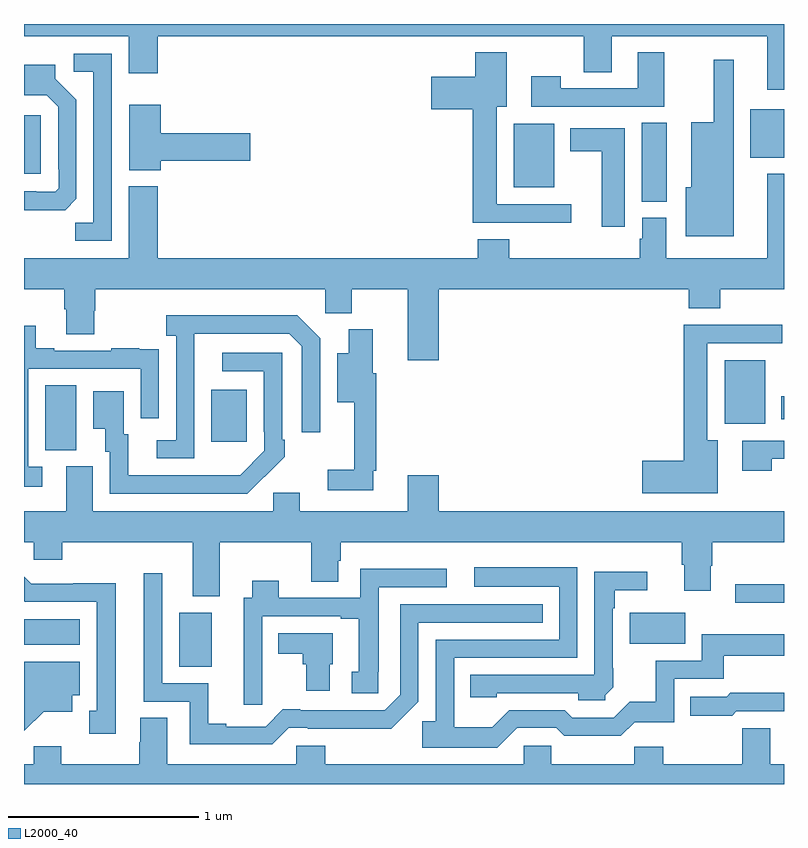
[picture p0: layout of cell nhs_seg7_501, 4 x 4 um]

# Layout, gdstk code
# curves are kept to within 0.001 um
import gdstk
lib = gdstk.Library(unit=1e-6, precision=1e-09)
def R(c, l, rs):  # rectangles x0, y0, x1, y1
    for r in rs: c.add(gdstk.rectangle(r[:2], r[2:], *l))
def P(c, l, *ps):  # polygons
    for p in ps: c.add(gdstk.Polygon(p, *l))
L2000_40 = (2000, 40)

nhs_seg7_501 = lib.new_cell('nhs_seg7_501')
R(nhs_seg7_501, L2000_40, [(151.817,1010.618,151.987,1010.902), (151,1010.732,151.294,1010.866), (154.188,1010.738,154.481,1010.902), (154.743,1010.954,155,1011.051), (151.112,1011.757,151.276,1012.1), (151.985,1011.801,152.173,1012.075), (154.688,1011.896,154.9,1012.231), (154.985,1011.92,155,1012.042), (154.25,1013.065,154.384,1013.48), (153.578,1013.141,153.79,1013.476), (151,1013.211,151.089,1013.521), (154.823,1013.297,155,1013.551)])
P(nhs_seg7_501, L2000_40, [(155,1014),(151,1014),(151,1013.936),(151.55,1013.936),(151.55,1013.742),(151.703,1013.742),(151.703,1013.936),(153.946,1013.936),(153.946,1013.746),(154.093,1013.746),(154.093,1013.936),(154.913,1013.936),(154.913,1013.655),(155,1013.655)],
  [(154.369,1013.851),(154.229,1013.851),(154.229,1013.661),(153.825,1013.661),(153.825,1013.725),(153.669,1013.725),(153.669,1013.565),(154.369,1013.565)],
  [(153.88,1013.052),(153.487,1013.052),(153.487,1013.564),(153.541,1013.564),(153.541,1013.851),(153.374,1013.851),(153.374,1013.722),(153.144,1013.722),(153.144,1013.552),(153.362,1013.552),(153.362,1012.955),(153.88,1012.955)],
  [(151.461,1013.844),(151.263,1013.844),(151.263,1013.748),(151.365,1013.748),(151.365,1012.955),(151.27,1012.955),(151.27,1012.86),(151.461,1012.86)],
  [(154.735,1013.812),(154.629,1013.812),(154.629,1013.482),(154.511,1013.482),(154.511,1013.142),(154.484,1013.142),(154.484,1012.883),(154.735,1012.883)],
  [(151.115,1013.021),(151.216,1013.021),(151.275,1013.08),(151.275,1013.602),(151.165,1013.712),(151.165,1013.785),(151,1013.785),(151,1013.625),(151.119,1013.625),(151.179,1013.565),(151.179,1013.236),(151.182,1013.236),(151.182,1013.136),(151.164,1013.118),(151.064,1013.118),(151.064,1013.121),(151,1013.121),(151,1013.02)],
  [(151.72,1013.279),(152.191,1013.279),(152.191,1013.426),(151.72,1013.426),(151.72,1013.575),(151.553,1013.575),(151.553,1013.231),(151.72,1013.231)],
  [(154.162,1013.452),(153.875,1013.452),(153.875,1013.33),(154.04,1013.33),(154.04,1012.932),(154.162,1012.932)],
  [(153.184,1012.604),(154.499,1012.604),(154.499,1012.505),(154.664,1012.505),(154.664,1012.604),(155,1012.604),(155,1013.212),(154.913,1013.212),(154.913,1012.768),(154.381,1012.768),(154.381,1012.98),(154.253,1012.98),(154.253,1012.869),(154.241,1012.869),(154.241,1012.768),(153.554,1012.768),(153.554,1012.867),(153.389,1012.867),(153.389,1012.768),(151.703,1012.768),(151.703,1013.146),(151.55,1013.146),(151.55,1012.768),(151,1012.768),(151,1012.604),(151.211,1012.604),(151.211,1012.498),(151.223,1012.498),(151.223,1012.366),(151.371,1012.366),(151.371,1012.491),(151.376,1012.491),(151.376,1012.604),(152.586,1012.604),(152.586,1012.478),(152.725,1012.478),(152.725,1012.604),(153.02,1012.604),(153.02,1012.23),(153.184,1012.23)],
  [(151.896,1012.171),(151.897,1012.371),(152.397,1012.371),(152.463,1012.305),(152.463,1011.852),(152.559,1011.852),(152.559,1012.347),(152.438,1012.468),(151.749,1012.468),(151.749,1012.358),(151.8,1012.358),(151.8,1011.81),(151.698,1011.81),(151.698,1011.714),(151.896,1011.714)],
  [(154.651,1011.808),(154.597,1011.808),(154.597,1012.32),(154.99,1012.32),(154.99,1012.418),(154.472,1012.418),(154.472,1011.701),(154.254,1011.701),(154.254,1011.53),(154.651,1011.53)],
  [(151.096,1011.669),(151.023,1011.669),(151.023,1012.185),(151.614,1012.185),(151.614,1011.924),(151.71,1011.924),(151.71,1012.178),(151.709,1012.178),(151.709,1012.287),(151.607,1012.287),(151.607,1012.294),(151.459,1012.294),(151.459,1012.281),(151.159,1012.281),(151.159,1012.294),(151.063,1012.294),(151.063,1012.411),(151,1012.411),(151,1011.564),(151.096,1011.564)],
  [(152.837,1011.649),(152.855,1011.649),(152.855,1012.163),(152.836,1012.163),(152.836,1012.393),(152.708,1012.393),(152.708,1012.267),(152.648,1012.267),(152.648,1012.01),(152.738,1012.01),(152.738,1011.655),(152.598,1011.655),(152.598,1011.546),(152.837,1011.546)],
  [(152.267,1011.619),(152.268,1011.618),(152.373,1011.723),(152.373,1011.811),(152.358,1011.811),(152.358,1012.269),(152.043,1012.269),(152.043,1012.173),(152.262,1012.173),(152.262,1011.853),(152.265,1011.853),(152.265,1011.753),(152.137,1011.625),(151.549,1011.624),(151.549,1011.84),(151.525,1011.84),(151.525,1012.066),(151.364,1012.066),(151.364,1011.869),(151.427,1011.869),(151.427,1011.75),(151.452,1011.75),(151.452,1011.528),(152.176,1011.528)],
  [(154.935,1011.711),(155,1011.711),(155,1011.807),(154.779,1011.807),(154.779,1011.648),(154.935,1011.648)],
  [(152.029,1011.272),(152.513,1011.272),(152.513,1011.064),(152.653,1011.064),(152.653,1011.174),(152.666,1011.174),(152.666,1011.272),(154.463,1011.272),(154.463,1011.153),(154.475,1011.153),(154.475,1011.018),(154.615,1011.018),(154.615,1011.148),(154.623,1011.148),(154.623,1011.272),(155,1011.272),(155,1011.436),(153.184,1011.436),(153.184,1011.625),(153.02,1011.625),(153.02,1011.436),(152.452,1011.436),(152.452,1011.534),(152.313,1011.534),(152.313,1011.436),(151.363,1011.436),(151.363,1011.672),(151.223,1011.672),(151.223,1011.436),(151,1011.436),(151,1011.272),(151.05,1011.272),(151.05,1011.179),(151.202,1011.179),(151.202,1011.272),(151.889,1011.272),(151.889,1010.987),(152.029,1010.987)],
  [(153.595,1010.295),(153.801,1010.295),(153.844,1010.253),(154.142,1010.253),(154.214,1010.324),(154.422,1010.324),(154.422,1010.553),(154.682,1010.553),(154.682,1010.675),(155,1010.675),(155,1010.788),(154.566,1010.788),(154.566,1010.649),(154.324,1010.649),(154.324,1010.433),(154.188,1010.433),(154.104,1010.349),(153.885,1010.349),(153.846,1010.388),(153.555,1010.388),(153.465,1010.298),(153.264,1010.298),(153.264,1010.664),(153.912,1010.664),(153.912,1011.142),(153.369,1011.142),(153.369,1011.038),(153.816,1011.038),(153.816,1010.76),(153.168,1010.76),(153.168,1010.33),(153.095,1010.33),(153.095,1010.192),(153.492,1010.192)],
  [(152.255,1010.658),(152.253,1010.658),(152.253,1010.883),(152.666,1010.883),(152.666,1010.871),(152.762,1010.871),(152.762,1010.591),(152.726,1010.591),(152.726,1010.478),(152.864,1010.478),(152.864,1010.59),(152.866,1010.59),(152.866,1011.036),(153.226,1011.036),(153.226,1011.133),(152.769,1011.133),(152.769,1010.979),(152.341,1010.979),(152.341,1011.07),(152.201,1011.07),(152.201,1010.979),(152.156,1010.979),(152.156,1010.418),(152.255,1010.418)],
  [(154.059,1010.468),(154.101,1010.509),(154.101,1010.608),(154.098,1010.608),(154.098,1010.924),(154.11,1010.924),(154.11,1011.021),(154.279,1011.021),(154.279,1011.118),(154.002,1011.118),(154.002,1010.574),(153.349,1010.574),(153.349,1010.457),(153.489,1010.457),(153.489,1010.478),(153.917,1010.478),(153.917,1010.442),(154.059,1010.442)],
  [(152.394,1010.295),(152.494,1010.295),(152.494,1010.291),(152.934,1010.291),(153.075,1010.432),(153.075,1010.85),(153.731,1010.85),(153.731,1010.946),(152.979,1010.946),(152.979,1010.469),(152.898,1010.388),(152.455,1010.388),(152.455,1010.393),(152.363,1010.393),(152.272,1010.302),(152.065,1010.302),(152.065,1010.317),(151.97,1010.317),(151.97,1010.529),(151.728,1010.529),(151.728,1011.109),(151.631,1011.109),(151.631,1010.433),(151.872,1010.433),(151.872,1010.208),(152.307,1010.208)],
  [(151.483,1011.056),(151.26,1011.056),(151.26,1011.054),(151.038,1011.054),(151,1011.092),(151,1010.963),(151.005,1010.958),(151.382,1010.958),(151.382,1010.385),(151.343,1010.385),(151.343,1010.265),(151.483,1010.265)],
  [(152.608,1010.631),(152.626,1010.631),(152.626,1010.793),(152.338,1010.793),(152.338,1010.685),(152.468,1010.685),(152.468,1010.631),(152.486,1010.631),(152.486,1010.49),(152.608,1010.49)],
  [(151.103,1010.381),(151.255,1010.381),(151.255,1010.468),(151.294,1010.468),(151.294,1010.644),(151,1010.644),(151,1010.279)],
  [(154.749,1010.382),(155,1010.382),(155,1010.479),(154.717,1010.479),(154.698,1010.46),(154.507,1010.46),(154.507,1010.36),(154.727,1010.36)],
  [(155,1010.104),(154.927,1010.104),(154.927,1010.294),(154.78,1010.294),(154.78,1010.104),(154.365,1010.104),(154.365,1010.197),(154.211,1010.197),(154.211,1010.104),(153.776,1010.104),(153.776,1010.202),(153.63,1010.202),(153.63,1010.104),(152.585,1010.104),(152.585,1010.202),(152.433,1010.202),(152.433,1010.104),(151.753,1010.104),(151.753,1010.348),(151.613,1010.348),(151.613,1010.22),(151.606,1010.22),(151.606,1010.104),(151.197,1010.104),(151.197,1010.2),(151.05,1010.2),(151.05,1010.104),(151,1010.104),(151,1010),(155,1010)])

lib.write_gds('nhs_seg7_501.gds')
